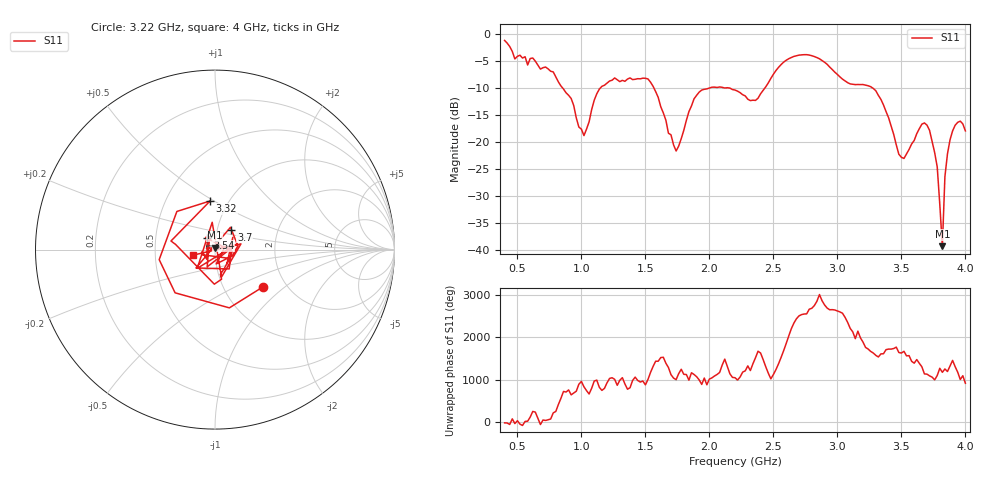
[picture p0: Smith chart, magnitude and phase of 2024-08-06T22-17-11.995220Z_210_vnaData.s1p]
!Created with skrf (http://scikit-rf.org).
# Hz S RI R 50.0
!freq ReS11 ImS11
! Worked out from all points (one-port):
!   181 points, 400 MHz to 4 GHz, reference 50 ohm
!   lowest |S11| = -39.3 dB at 3.82 GHz (marker M1), VSWR 1.02, Z = 49.9 + j1.09 ohm
!   |S11| at or under -10 dB: 855.8 MHz to 1.146 GHz (289.8 MHz wide, 29 % of centre); 1.568 GHz to 1.992 GHz (424.4 MHz wide, 23.8 % of centre); 3.28 GHz to end of sweep (the widest 3 of 4)
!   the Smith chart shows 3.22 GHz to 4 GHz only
!   S11 on the Smith chart (normalised r, x): 3.22 GHz: 1.52, -0.72; 3.32 GHz: 0.82, +0.48; 3.54 GHz: 0.91, +0.12; 3.7 GHz: 1.17, +0.27; 4 GHz: 0.78, -0.05
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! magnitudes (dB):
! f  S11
! 400 MHz  -1.1
! 480 MHz  -4.5
! 620 MHz  -4.4
! 860 MHz  -10.1
! 1.02 GHz  -18.8
! 1.14 GHz  -10.1
! 1.3 GHz  -8.7
! 1.52 GHz  -8.3
! 1.74 GHz  -21.6
! 1.76 GHz  -20.7
! 1.92 GHz  -10.7
! 2.2 GHz  -10.3
! 2.36 GHz  -12.2
! 2.66 GHz  -4.1
! 2.86 GHz  -4.5
! 3.1 GHz  -9.2
! 3.22 GHz  -9.4
! 3.32 GHz  -11.3
! 3.48 GHz  -22.2
! 3.54 GHz  -22.2
! 3.56 GHz  -21.3
! 3.7 GHz  -16.8
! 3.78 GHz  -24.6
! 3.82 GHz  -39.3
! 3.84 GHz  -26.4
! 3.88 GHz  -19.5
! 3.94 GHz  -16.3
! 4 GHz  -17.9
